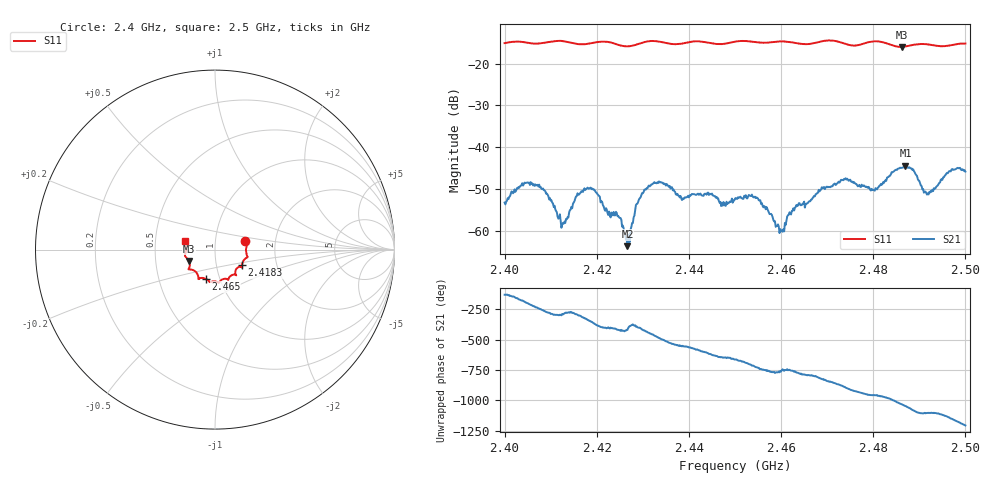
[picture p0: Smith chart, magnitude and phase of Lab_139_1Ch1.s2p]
# Hz S RI R 50
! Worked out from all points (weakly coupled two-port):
!   601 points, 2.4 GHz to 2.5 GHz, reference 50 ohm
!   highest |S21| = -44.37 dB at 2.487 GHz (marker M1); lowest = -63.6 dB at 2.4267 GHz (marker M2)
!   lowest |S11| = -16.0 dB at 2.4862 GHz (marker M3), VSWR 1.37, Z = 37.1 - j4.86 ohm
!   |S11| at or under -10 dB: start of sweep to end of sweep
!   S12 and S22 are empty: the file has one direction only
!   S11 on the Smith chart (normalised r, x): 2.4 GHz: 1.40, +0.13; 2.4183 GHz: 1.33, -0.24; 2.465 GHz: 0.86, -0.29; 2.5 GHz: 0.71, +0.07
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2.4e9  0.1691 0.0458  -0.00138 -0.0017  0 0  0 0
2.407167e9  0.173 -0.00528  -0.00194 0.00299  0 0  0 0
2.412667e9  0.18 -0.0434  0.00045 0.00117  0 0  0 0
2.416667e9  0.1549 -0.0684  0.00191 0.0023  0 0  0 0
2.418333e9  0.1498 -0.0869  0.00307 0.00096  0 0  0 0
2.424667e9  0.1369 -0.096  0.000792 -0.00129  0 0  0 0
2.426667e9  0.1205 -0.1057  0.00035 -0.000561  0 0  0 0
2.4295e9  0.113 -0.1332  0.00178 -0.00179  0 0  0 0
2.433333e9  0.1167 -0.141  -0.00202 -0.00316  0 0  0 0
2.4385e9  0.0796 -0.1535  -0.00227 0.000607  0 0  0 0
2.45e9  0.0251 -0.1806  0.00131 0.00206  0 0  0 0
2.454833e9  0.00874 -0.1789  0.00246 -0.000387  0 0  0 0
2.460167e9  -0.0285 -0.1813  0.000876 -0.000498  0 0  0 0
2.465e9  -0.0528 -0.1622  0.000875 -0.00207  0 0  0 0
2.466667e9  -0.0714 -0.1575  0.00071 -0.00228  0 0  0 0
2.4735e9  -0.0937 -0.1475  -0.00391 -0.00103  0 0  0 0
2.479833e9  -0.1466 -0.1102  -0.00165 0.00261  0 0  0 0
2.483333e9  -0.1418 -0.0957  -0.000584 0.00439  0 0  0 0
2.486167e9  -0.1444 -0.0638  0.00382 0.00421  0 0  0 0
2.487e9  -0.1498 -0.0556  0.00507 0.0033  0 0  0 0
2.4915e9  -0.1674 -0.0307  0.00259 -0.00118  0 0  0 0
2.5e9  -0.1666 0.0474  -0.00307 -0.00412  0 0  0 0
